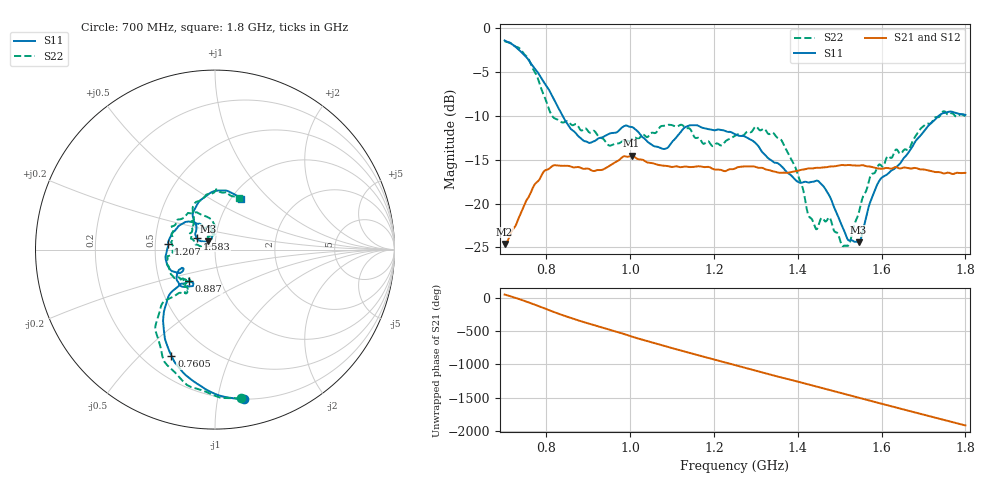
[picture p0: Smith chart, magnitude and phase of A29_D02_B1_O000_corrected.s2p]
! Created with skrf 1.9.0 (http://scikit-rf.org).
# Hz S RI R 50.0
!freq ReS11 ImS11 ReS21 ImS21 ReS12 ImS12 ReS22 ImS22
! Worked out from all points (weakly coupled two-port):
!   1601 points, 700 MHz to 1.8 GHz, reference 50 ohm
!   highest |S21| = -14.55 dB at 1.003 GHz (marker M1); lowest = -24.6 dB at 700 MHz (marker M2)
!   lowest |S11| = -24.4 dB at 1.545 GHz (marker M3), VSWR 1.13, Z = 46.1 + j4.23 ohm
!   |S11| at or under -10 dB: 838.5 MHz to 1.736 GHz (897.7 MHz wide, 69.7 % of centre)
!   |S22| runs from -24.9 to -1.5 dB; largest |S21 - S12| = 0.0035
!   S11 on the Smith chart (normalised r, x): 700 MHz: 0.20, -1.19; 760.5 MHz: 0.31, -0.63; 887 MHz: 0.70, -0.26; 1.207 GHz: 0.58, +0.04; 1.583 GHz: 0.81, +0.10; 1.8 GHz: 1.11, +0.70
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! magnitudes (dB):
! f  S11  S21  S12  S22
! 700 MHz  -1.4  -24.6  -24.4  -1.5
! 760.5 MHz  -3.9  -19.0  -18.8  -3.8
! 814.1 MHz  -7.8  -15.7  -15.8  -10.1
! 883.6 MHz  -12.6  -16.0  -15.9  -11.7
! 887 MHz  -12.8  -16.0  -15.9  -11.6
! 950.9 MHz  -12.0  -15.7  -15.7  -13.4
! 1.003 GHz  -11.3  -14.6  -14.7  -12.7
! 1.067 GHz  -13.6  -15.6  -15.5  -11.5
! 1.139 GHz  -11.1  -15.8  -15.8  -11.4
! 1.207 GHz  -11.6  -16.1  -16.2  -13.1
! 1.25 GHz  -12.1  -16.0  -15.9  -12.3
! 1.301 GHz  -13.2  -15.9  -15.8  -11.2
! 1.359 GHz  -15.7  -16.5  -16.5  -12.7
! 1.394 GHz  -17.3  -16.3  -16.3  -15.9
! 1.434 GHz  -17.5  -16.0  -16.0  -21.8
! 1.476 GHz  -19.1  -15.8  -15.8  -21.6
! 1.515 GHz  -23.7  -15.6  -15.6  -24.8
! 1.545 GHz  -24.4  -15.7  -15.6  -21.2
! 1.583 GHz  -18.5  -15.9  -15.9  -16.5
! 1.617 GHz  -16.5  -16.0  -15.9  -14.6
! 1.738 GHz  -9.9  -16.4  -16.5  -10.1
! 1.8 GHz  -9.9  -16.5  -16.5  -10.0
